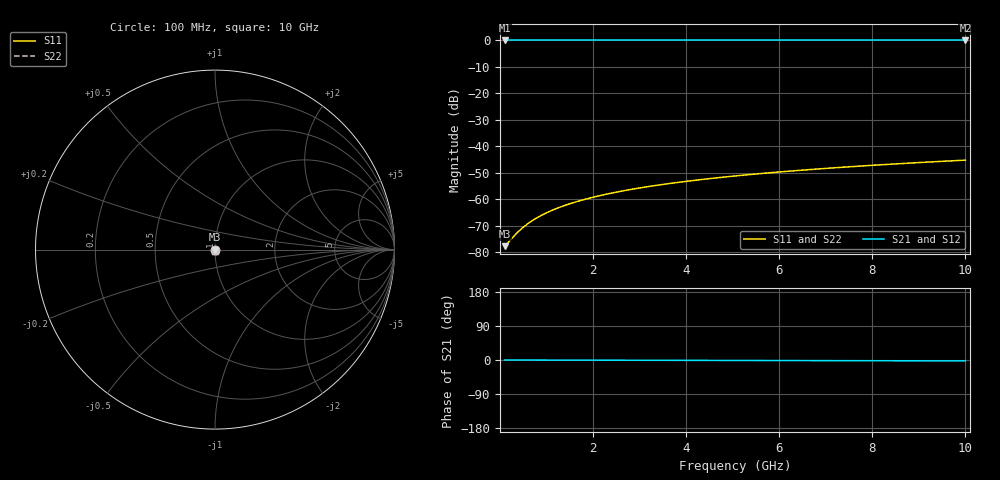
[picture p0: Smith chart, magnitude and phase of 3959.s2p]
# Hz S RI R 50.00
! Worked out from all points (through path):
!   100 points, 100 MHz to 10 GHz, reference 50 ohm
!   highest |S21| = 0.00 dB at 100 MHz (marker M1); lowest = 0.0 dB at 10 GHz (marker M2)
!   lowest |S11| = -77.8 dB at 100 MHz (marker M3), VSWR 1.00, Z = 50 - j0.0054 ohm
!   |S11| at or under -10 dB: start of sweep to end of sweep
!   |S22| runs from -77.8 to -45.2 dB; largest |S21 - S12| = 0
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1e8  0.000118 -5.4e-05  0.9999 -0.000413  0.9999 -0.000413  0.000118 -5.4e-05
2e8  0.000118 -0.000108  0.9999 -0.000826  0.9999 -0.000826  0.000118 -0.000108
3e8  0.000118 -0.000162  0.9999 -0.00124  0.9999 -0.00124  0.000118 -0.000162
4e8  0.000118 -0.000216  0.9999 -0.00165  0.9999 -0.00165  0.000118 -0.000216
5e8  0.000118 -0.00027  0.9999 -0.00207  0.9999 -0.00207  0.000118 -0.00027
6e8  0.000118 -0.000324  0.9999 -0.00248  0.9999 -0.00248  0.000118 -0.000324
7e8  0.000118 -0.000378  0.9999 -0.00289  0.9999 -0.00289  0.000118 -0.000378
8e8  0.000118 -0.000432  0.9999 -0.00331  0.9999 -0.00331  0.000118 -0.000432
1e9  0.000117 -0.00054  0.9999 -0.00413  0.9999 -0.00413  0.000117 -0.00054
1.2e9  0.000116 -0.000648  0.9999 -0.00496  0.9999 -0.00496  0.000116 -0.000648
1.5e9  0.000114 -0.000811  0.9999 -0.0062  0.9999 -0.0062  0.000114 -0.000811
1.8e9  0.000112 -0.000973  0.9998 -0.00744  0.9998 -0.00744  0.000112 -0.000973
2.1e9  0.00011 -0.00114  0.9998 -0.00868  0.9998 -0.00868  0.00011 -0.00114
2.5e9  0.000105 -0.00135  0.9998 -0.0103  0.9998 -0.0103  0.000105 -0.00135
2.9e9  0.0001 -0.00157  0.9998 -0.012  0.9998 -0.012  0.0001 -0.00157
3.4e9  9.27e-05 -0.00184  0.9998 -0.0141  0.9998 -0.0141  9.27e-05 -0.00184
4.2e9  7.85e-05 -0.00228  0.9997 -0.0174  0.9997 -0.0174  7.85e-05 -0.00228
5.1e9  5.89e-05 -0.00277  0.9996 -0.0211  0.9996 -0.0211  5.89e-05 -0.00277
5.9e9  3.84e-05 -0.00321  0.9996 -0.0245  0.9996 -0.0245  3.84e-05 -0.00321
6.7e9  1.48e-05 -0.00365  0.9995 -0.0278  0.9995 -0.0278  1.48e-05 -0.00365
8.4e9  -4.5e-05 -0.00459  0.9992 -0.0349  0.9992 -0.0349  -4.5e-05 -0.00459
1e10  -0.000114 -0.00547  0.999 -0.0416  0.999 -0.0416  -0.000114 -0.00547
